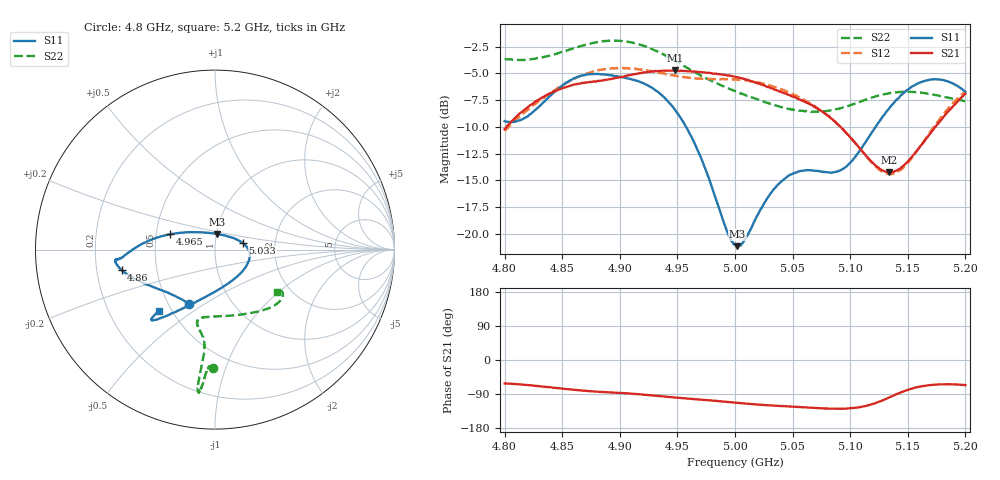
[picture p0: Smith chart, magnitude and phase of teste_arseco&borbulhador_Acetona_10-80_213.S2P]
! Network Analyzer HP8722D
! Hewlett-Packard
! Data name: Linha & Wilkinson
! Saver's name: Rodrigo Anjos
! Comments: Teste da utilização de aquisição
! continua pelo VNA HP8722D
! Time and date: 17/4/2025 16:08
!  Frequency  S11  S21  S12  S22
# HZ  S  MA R 50
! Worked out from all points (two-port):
!   401 points, 4.8 GHz to 5.2 GHz, reference 50 ohm
!   highest |S21| = -4.73 dB at 4.948 GHz (marker M1); lowest = -14.2 dB at 5.134 GHz (marker M2)
!   |S21| within 3 dB of the highest: 4.826 GHz to 5.062 GHz (236.2 MHz wide, 4.78 % of centre); 5.192314 GHz to end of sweep
!   lowest |S11| = -21.1 dB at 5.002 GHz (marker M3), VSWR 1.19, Z = 50.6 + j8.83 ohm
!   |S11| at or under -10 dB: 4.958 GHz to 5.122 GHz (164.4 MHz wide, 3.26 % of centre)
!   |S22| runs from -8.6 to -1.9 dB; largest |S21 - S12| = 0.87
!   S11 on the Smith chart (normalised r, x): 4.8 GHz: 0.63, -0.43; 4.86 GHz: 0.31, -0.10; 4.965 GHz: 0.59, +0.11; 5.033 GHz: 1.36, +0.10; 5.2 GHz: 0.43, -0.37
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4.8e9  0.3363 -115.9  0.3086 -61.9  0.3029 -176.2  0.6585 -91.0
4.819e9  0.3523 -136.1  0.3866 -65.8  0.3757 -175.4  0.6528 -92.7
4.86e9  0.5328 -167.6  0.4988 -78.5  0.5278 -178.8  0.7368 -95.0
4.867e9  0.549 -170.4  0.5079 -80.6  0.5507 -180.0  0.7569 -95.4
4.899e9  0.5428 -174.5  0.5375 -86.9  0.5952 173.8  0.7979 -96.7
4.934e9  0.4564 179.8  0.5766 -95.1  0.5675 170.5  0.7046 -97.0
4.948e9  0.3793 173.0  0.5804 -99.2  0.5483 170.8  0.6434 -96.5
4.965e9  0.2643 161.2  0.5737 -103.4  0.5336 172.4  0.5706 -96.1
4.993e9  0.1031 114.6  0.5503 -110.4  0.5291 174.8  0.4817 -98.6
5e9  0.08903 89.2  0.5421 -112.6  0.5277 174.7  0.4654 -99.9
5.002e9  0.08768 81.3  0.5396 -113.1  0.5253 174.6  0.4607 -100.4
5.009e9  0.09507 56.4  0.5279 -115.0  0.5237 174.7  0.4452 -101.9
5.033e9  0.1601 13.2  0.4768 -120.1  0.4882 173.3  0.4017 -103.4
5.048e9  0.1892 -1.2  0.4437 -122.8  0.4556 172.7  0.3835 -99.6
5.067e9  0.198 -21.5  0.3994 -126.2  0.4025 172.6  0.3723 -89.1
5.096e9  0.2056 -72.0  0.2986 -128.2  0.2991 174.7  0.3931 -66.4
5.121e9  0.3101 -110.1  0.2111 -114.9  0.2091 -169.8  0.4371 -49.6
5.134e9  0.3873 -120.2  0.1942 -98.5  0.1908 -151.8  0.4544 -43.2
5.148e9  0.4637 -126.7  0.2128 -80.9  0.2092 -131.0  0.4615 -37.9
5.168e9  0.5235 -131.3  0.2882 -66.8  0.2914 -113.1  0.4506 -33.2
5.184e9  0.5175 -132.6  0.3685 -64.1  0.3796 -108.4  0.4345 -32.0
5.2e9  0.4613 -132.6  0.4513 -66.2  0.4626 -108.2  0.4167 -34.6
